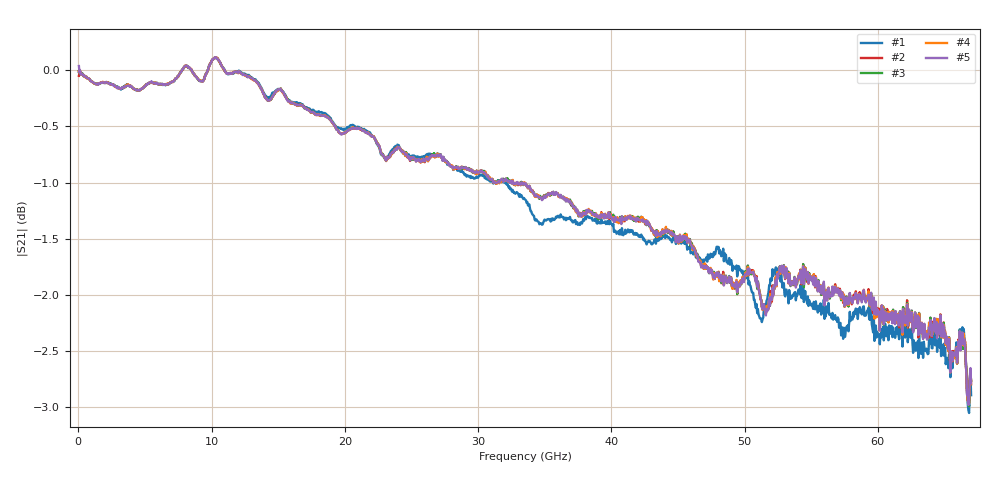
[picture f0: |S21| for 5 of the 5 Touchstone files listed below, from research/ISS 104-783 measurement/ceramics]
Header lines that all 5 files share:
#  HZ  S  MA  R  50.00
! Rohde & Schwarz ZVA67 4Ports - Version 4.11 - 1305.7002k04 SN: 101051
! Measurements: S11 S21 S12 S22
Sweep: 50 MHz to 67 GHz
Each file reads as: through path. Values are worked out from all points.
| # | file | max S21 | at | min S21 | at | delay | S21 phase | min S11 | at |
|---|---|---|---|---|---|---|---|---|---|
| 1 | Line_A1_DC_to_67_GHz.s2p | 0.12 dB | 10.3 GHz | -3.1 dB | 66.85 GHz | 375 ps | 145 deg at 33.55 GHz | -49.5 dB | 100 MHz |
| 2 | Thru_A1_1_DC_to_67_GHz.s2p | 0.11 dB | 10.3 GHz | -3.0 dB | 66.8 GHz | 374 ps | 166 deg at 33.55 GHz | -49.2 dB | 100 MHz |
| 3 | Thru_A1_2_DC_to_67_GHz.s2p | 0.12 dB | 10.3 GHz | -3.0 dB | 66.85 GHz | 373 ps | 166 deg at 33.55 GHz | -49.7 dB | 100 MHz |
| 4 | Thru_A1_3_DC_to_67_GHz.s2p | 0.12 dB | 10.3 GHz | -3.0 dB | 66.85 GHz | 373 ps | 166 deg at 33.55 GHz | -50.3 dB | 100 MHz |
| 5 | Thru_A1_4_DC_to_67_GHz.s2p | 0.12 dB | 10.25 GHz | -3.0 dB | 66.8 GHz | 373 ps | 166 deg at 33.55 GHz | -48.7 dB | 100 MHz |
